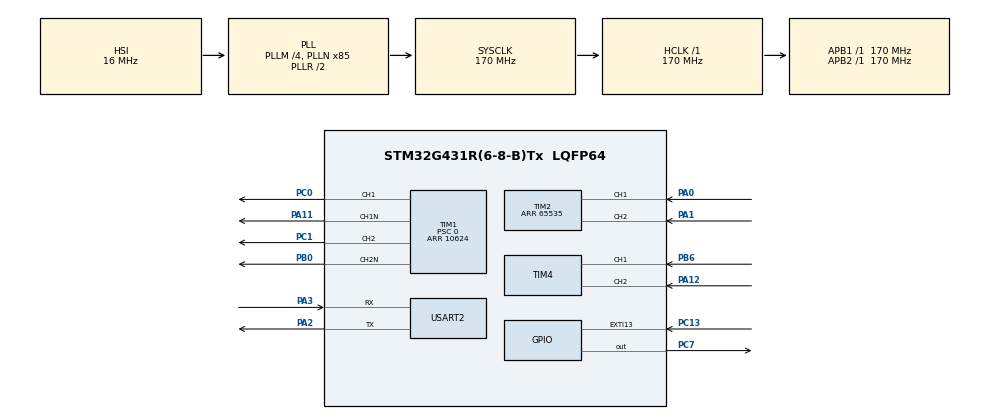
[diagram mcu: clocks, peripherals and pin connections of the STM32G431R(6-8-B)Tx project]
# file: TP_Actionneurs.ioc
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Mcu.Family=STM32G4
Mcu.Name=STM32G431R(6-8-B)Tx
Mcu.Package=LQFP64
NVIC.EXTI15_10_IRQn=true\:0\:0\:false\:false\:true\:true\:true
NVIC.PriorityGroup=NVIC_PRIORITYGROUP_4
NVIC.TIM2_IRQn=true\:0\:0\:false\:false\:true\:true\:true
NVIC.TIM8_BRK_IRQn=true\:0\:0\:false\:false\:true\:true\:true
NVIC.TIM8_CC_IRQn=true\:0\:0\:false\:false\:true\:true\:true
NVIC.TIM8_TRG_COM_IRQn=true\:0\:0\:false\:false\:true\:true\:true
NVIC.TIM8_UP_IRQn=true\:0\:0\:false\:false\:true\:true\:true
NVIC.USART2_IRQn=true\:0\:0\:false\:false\:true\:true\:true
PA0.Signal=S_TIM2_CH1
PA1.Signal=S_TIM2_CH2
PA11.Mode=PWM Generation1 CH1 CH1N
PA11.Signal=TIM1_CH1N
PA12.Signal=S_TIM4_CH2
PA13.Mode=Serial_Wire
PA13.Signal=SYS_JTMS-SWDIO
PA14.Mode=Serial_Wire
PA14.Signal=SYS_JTCK-SWCLK
PA2.Mode=Asynchronous
PA2.Signal=USART2_TX
PA3.Mode=Asynchronous
PA3.Signal=USART2_RX
PB0.Mode=PWM Generation2 CH2 CH2N
PB0.Signal=TIM1_CH2N
PB6.Signal=S_TIM4_CH1
PC0.Signal=S_TIM1_CH1
PC1.Signal=S_TIM1_CH2
PC13.GPIO_ModeDefaultEXTI=GPIO_MODE_IT_FALLING
PC13.Signal=GPXTI13
PC7.Signal=GPIO_Output
PF0-OSC_IN.Mode=HSE-External-Oscillator
PF0-OSC_IN.Signal=RCC_OSC_IN
PF1-OSC_OUT.Mode=HSE-External-Oscillator
PF1-OSC_OUT.Signal=RCC_OSC_OUT
ProjectManager.HeapSize=0x200
ProjectManager.StackSize=0x400
ProjectManager.TargetToolchain=STM32CubeIDE
RCC.ADC12Freq_Value=170000000
RCC.AHBFreq_Value=170000000
RCC.APB1Freq_Value=170000000
RCC.APB1TimFreq_Value=170000000
RCC.APB2Freq_Value=170000000
RCC.APB2TimFreq_Value=170000000
RCC.CortexFreq_Value=170000000
RCC.EXTERNAL_CLOCK_VALUE=12288000
RCC.HCLKFreq_Value=170000000
RCC.HSE_VALUE=24000000
RCC.HSI48_VALUE=48000000
RCC.HSI_VALUE=16000000
RCC.LSE_VALUE=32768
RCC.PLLM=RCC_PLLM_DIV4
RCC.PLLN=85
RCC.RTCClockSelection=RCC_RTCCLKSOURCE_LSE
RCC.SYSCLKFreq_VALUE=170000000
RCC.SYSCLKSource=RCC_SYSCLKSOURCE_PLLCLK
RCC.USBFreq_Value=170000000
RCC.VCOOutputFreq_Value=340000000
SH.S_TIM1_CH1.0=TIM1_CH1,PWM Generation1 CH1 CH1N
SH.S_TIM1_CH2.0=TIM1_CH2,PWM Generation2 CH2 CH2N
SH.S_TIM2_CH1.0=TIM2_CH1,Encoder_Interface
SH.S_TIM2_CH2.0=TIM2_CH2,Encoder_Interface
SH.S_TIM4_CH1.0=TIM4_CH1,Encoder_Interface
SH.S_TIM4_CH2.0=TIM4_CH2,Encoder_Interface
TIM1.Channel-PWM\ Generation1\ CH1\ CH1N=TIM_CHANNEL_1
TIM1.Channel-PWM\ Generation2\ CH2\ CH2N=TIM_CHANNEL_2
TIM1.CounterMode=TIM_COUNTERMODE_CENTERALIGNED1
TIM1.DeadTime=203
TIM1.OCMode_PWM-PWM\ Generation2\ CH2\ CH2N=TIM_OCMODE_PWM1
TIM1.OCNPolarity_2=TIM_OCNPOLARITY_HIGH
TIM1.PeriodNoDither=10624
TIM1.Prescaler=0
TIM1.PulseNoDither_1=7436
TIM1.PulseNoDither_2=6374
TIM2.EncoderMode=TIM_ENCODERMODE_TI12
TIM2.PeriodNoDither=65535
TIM4.EncoderMode=TIM_ENCODERMODE_TI1
TIM8.PeriodNoDither=16999
TIM8.Prescaler=9999
USART2.VirtualMode-Asynchronous=VM_ASYNC
VP_SYS_VS_DBSignals.Mode=DisableDeadBatterySignals
VP_TIM1_VS_ClockSourceINT.Mode=Internal
VP_TIM3_VS_ClockSourceINT.Mode=Internal
VP_TIM8_VS_ClockSourceINT.Mode=Internal
board=NUCLEO-G431RB

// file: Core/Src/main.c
/* USER CODE BEGIN Header */
/**
  ******************************************************************************
  * @file           : main.c
  * @brief          : Main program body
  ******************************************************************************
  * @attention
  *
  * <h2><center>&copy; Copyright (c) 2021 STMicroelectronics.
  * All rights reserved.</center></h2>
  *
  * This software component is licensed by ST under BSD 3-Clause license,
  * the "License"; You may not use this file except in compliance with the
  * License. You may obtain a copy of the License at:
  *                        opensource.org/licenses/BSD-3-Clause
  *
  ******************************************************************************
  */
/* USER CODE END Header */
#include "main.h"
#include "tim.h"
#include "usart.h"
#include "gpio.h"

/* USER CODE BEGIN PD */
#define UART_RX_BUFFER_SIZE 32
#define UART_TX_BUFFER_SIZE 32
#define CMD_BUFFER_SIZE 32

/* USER CODE END PD */

/* USER CODE BEGIN PV */
int idxCmd = 0;

int val=50;
uint8_t bouton = 0; //Variable servant au bouton
int valeur_ancienne = 0;
int valeur_nouvelle = 0;
int vitesse = 0;
int current = 0;

//Variables console
char uart_rx_buffer[UART_RX_BUFFER_SIZE];
char uart_tx_buffer[UART_TX_BUFFER_SIZE];
int it_uart_rx_ready=0;
int valCmd[4];

const uint8_t starting[32] = {"\r\n\r\n---Jour---\r\n"};
const uint8_t prompt[32] = {"<user>@Nucleo-G431 >> "};
char cmd[CMD_BUFFER_SIZE];

const uint8_t help[128] = {"\r\npinout:contient la liste des pin utilisées\r\nstart: démarre le moteur \r\nstop: Arrête le moteur\r\n"};
const uint8_t pinout[];
const uint8_t power_on[CMD_BUFFER_SIZE]={"\r\nLancement du Moteur\r\n"};
const uint8_t power_off[CMD_BUFFER_SIZE]={"\r\nArret du Moteur\r\n"};
const uint8_t not_found[CMD_BUFFER_SIZE]={"\r\nCommande inconnue\r\n"};

char backspace[] = " \b";

/* USER CODE END PV */

void SystemClock_Config(void);

/* USER CODE BEGIN 0 */
int __io_putchar(int ch) {
	HAL_UART_Transmit(&huart2, (uint8_t *)&ch, 1, HAL_MAX_DELAY);
	return ch;
}

//Début code console
void Uartprint(char * s){
	sprintf((char *)uart_tx_buffer,"%s",s);
	HAL_UART_Transmit(&huart2, uart_tx_buffer, strlen(s), HAL_MAX_DELAY);
	HAL_Delay(200);
}

void Uartreceive(){
	HAL_UART_Receive_IT(&huart2, uart_rx_buffer, 1);
}
void HAL_UART_RxCpltCallback(UART_HandleTypeDef *huart)
{
  it_uart_rx_ready=1;
}

void echo(){
	if(it_uart_rx_ready==1){
		uart_tx_buffer[0]=uart_rx_buffer[0];
		HAL_UART_Transmit(&huart2, uart_tx_buffer, 1, HAL_MAX_DELAY);
		it_uart_rx_ready=0;
	}
}

void Console(){
	Uartreceive();
	if (it_uart_rx_ready==1) {
		echo();
		cmd[idxCmd++]=uart_rx_buffer[0];
		if (uart_rx_buffer[0]=='\r') {
			cmd[idxCmd-1]='\0';
			if(CprCommande(cmd)){
				idxCmd=0;
			}
		}
		else if (uart_rx_buffer[0]=='\b') {
			if (idxCmd>0) {      //is there a char to delete?
				idxCmd=idxCmd-2;          //remove it in buffer
				Uartprint(backspace);
			}
		}
	}
}

int CprCommande(char * c){
	if(strcmp(c,"help")==0) {
		Uartprint((char *) help);
		return 1;
	}
	else if(strcmp(c,"on")==0) {
		HAL_GPIO_WritePin(GPIOA, GPIO_PIN_0,0);
		for (int i=0;i<25;i++);
		HAL_GPIO_WritePin(GPIOA, GPIO_PIN_0,1);
		Uartprint((char *) power_on);
		//Uartprint((char *) prompt);

		return 1;
	}
	else if(strcmp(c,"stop")==0) {
		HAL_GPIO_WritePin(GPIOA,GPIO_PIN_0,1);
		Uartprint((char *) power_off);
		return 1;
	}
	else if(strcmp(c,"pinout")==0) {
		Uartprint((char *) pinout);
		Uartprint((char *) prompt);
		return 1;
	}

	else if(strcmp(c,"start")==0) {
		HAL_GPIO_WritePin(GPIOC, GPIO_PIN_7, GPIO_PIN_SET);
		HAL_Delay(1);
		HAL_GPIO_WritePin(GPIOC, GPIO_PIN_7, GPIO_PIN_RESET);
		HAL_Delay(1);

		Uartprint((char *) power_on);
		HAL_TIM_PWM_Start(&htim1, TIM_CHANNEL_1);
		HAL_TIM_PWM_Start(&htim1, TIM_CHANNEL_2);
		HAL_TIMEx_PWMN_Start(&htim1, TIM_CHANNEL_1);
		HAL_TIMEx_PWMN_Start(&htim1, TIM_CHANNEL_2);
		TIM1->CCR1 = val;
		TIM1->CCR2 = TIM1->ARR - val;
	}

	else{
		Uartprint((char *) not_found);
		Uartprint((char *) prompt);
		return 1;
	}

}
//fin code console

/* USER CODE END 0 */

int main(void)
{

  /* MCU Configuration--------------------------------------------------------*/

  /* Reset of all peripherals, Initializes the Flash interface and the Systick. */
  HAL_Init();

  /* Configure the system clock */
  SystemClock_Config();

  /* Initialize all configured peripherals */
  MX_GPIO_Init();
  MX_USART2_UART_Init();
  MX_TIM1_Init();
  MX_TIM2_Init();
  MX_TIM3_Init();
  MX_TIM4_Init();
  MX_TIM8_Init();
  /* USER CODE BEGIN 2 */
  HAL_TIM_Encoder_Start(&htim4,TIM_CHANNEL_ALL);
  valeur_ancienne = TIM4->CNT;
  HAL_TIM_Base_Start_IT(&htim8);
  printf("%d\r\n", TIM4->CNT/4);
  /* USER CODE END 2 */

  /* Infinite loop */
  /* USER CODE BEGIN WHILE */
  while (1)
  {
	  Console();
	  /*if (1 == bouton) {
		  HAL_GPIO_TogglePin(GPIOC, GPIO_PIN_13);

		  HAL_TIM_PWM_Start(&htim1, TIM_CHANNEL_1);
		  HAL_TIM_PWM_Start(&htim1, TIM_CHANNEL_2);
		  HAL_TIMEx_PWMN_Start(&htim1, TIM_CHANNEL_1);
		  HAL_TIMEx_PWMN_Start(&htim1, TIM_CHANNEL_2);
		  TIM1->CCR1 = val;
		  TIM1->CCR2 = TIM1->ARR - val;

		  bouton=0;
	  }*/
	  valeur_nouvelle = TIM4->CNT;
	  //printf("%d\r\n", TIM4->CNT/4);
	  //TIM4->CNT = 0;

    /* USER CODE END WHILE */

  }
}

void SystemClock_Config(void)
{
  RCC_OscInitTypeDef RCC_OscInitStruct = {0};
  RCC_ClkInitTypeDef RCC_ClkInitStruct = {0};
  RCC_PeriphCLKInitTypeDef PeriphClkInit = {0};

  /** Configure the main internal regulator output voltage
  */
  HAL_PWREx_ControlVoltageScaling(PWR_REGULATOR_VOLTAGE_SCALE1_BOOST);
  /** Initializes the RCC Oscillators according to the specified parameters
  * in the RCC_OscInitTypeDef structure.
  */
  RCC_OscInitStruct.OscillatorType = RCC_OSCILLATORTYPE_HSI;
  RCC_OscInitStruct.HSIState = RCC_HSI_ON;
  RCC_OscInitStruct.HSICalibrationValue = RCC_HSICALIBRATION_DEFAULT;
  RCC_OscInitStruct.PLL.PLLState = RCC_PLL_ON;
  RCC_OscInitStruct.PLL.PLLSource = RCC_PLLSOURCE_HSI;
  RCC_OscInitStruct.PLL.PLLM = RCC_PLLM_DIV4;
  RCC_OscInitStruct.PLL.PLLN = 85;
  RCC_OscInitStruct.PLL.PLLP = RCC_PLLP_DIV2;
  RCC_OscInitStruct.PLL.PLLQ = RCC_PLLQ_DIV2;
  RCC_OscInitStruct.PLL.PLLR = RCC_PLLR_DIV2;
  if (HAL_RCC_OscConfig(&RCC_OscInitStruct) != HAL_OK)
  {
    Error_Handler();
  }
  /** Initializes the CPU, AHB and APB buses clocks
  */
  RCC_ClkInitStruct.ClockType = RCC_CLOCKTYPE_HCLK|RCC_CLOCKTYPE_SYSCLK
                              |RCC_CLOCKTYPE_PCLK1|RCC_CLOCKTYPE_PCLK2;
  RCC_ClkInitStruct.SYSCLKSource = RCC_SYSCLKSOURCE_PLLCLK;
  RCC_ClkInitStruct.AHBCLKDivider = RCC_SYSCLK_DIV1;
  RCC_ClkInitStruct.APB1CLKDivider = RCC_HCLK_DIV1;
  RCC_ClkInitStruct.APB2CLKDivider = RCC_HCLK_DIV1;

  if (HAL_RCC_ClockConfig(&RCC_ClkInitStruct, FLASH_LATENCY_4) != HAL_OK)
  {
    Error_Handler();
  }
  /** Initializes the peripherals clocks
  */
  PeriphClkInit.PeriphClockSelection = RCC_PERIPHCLK_USART2;
  PeriphClkInit.Usart2ClockSelection = RCC_USART2CLKSOURCE_PCLK1;
  if (HAL_RCCEx_PeriphCLKConfig(&PeriphClkInit) != HAL_OK)
  {
    Error_Handler();
  }
}

/* USER CODE BEGIN 4 */

void TIM8_UP_IRQHandler(void)
{
  /* USER CODE BEGIN TIM8_UP_IRQn 0 */
	vitesse = (valeur_nouvelle-valeur_ancienne)/1024;
	valeur_ancienne = valeur_nouvelle;
	printf("Vitesse = %d tr/s\r\n", vitesse);

  /* USER CODE END TIM8_UP_IRQn 0 */
  HAL_TIM_IRQHandler(&htim8);

  /* USER CODE BEGIN TIM8_UP_IRQn 1 */

  /* USER CODE END TIM8_UP_IRQn 1 */
}

/*void HAL_GPIO_EXTI_Falling_Callback(uint16_t GPIO_Pin) {
	bouton=1;
	printf("entré dans callback");
}*/
/* USER CODE END 4 */

void Error_Handler(void)
{
  __disable_irq();
  while (1)
  {
  }
}

/************************ (C) COPYRIGHT STMicroelectronics *****END OF FILE****/
